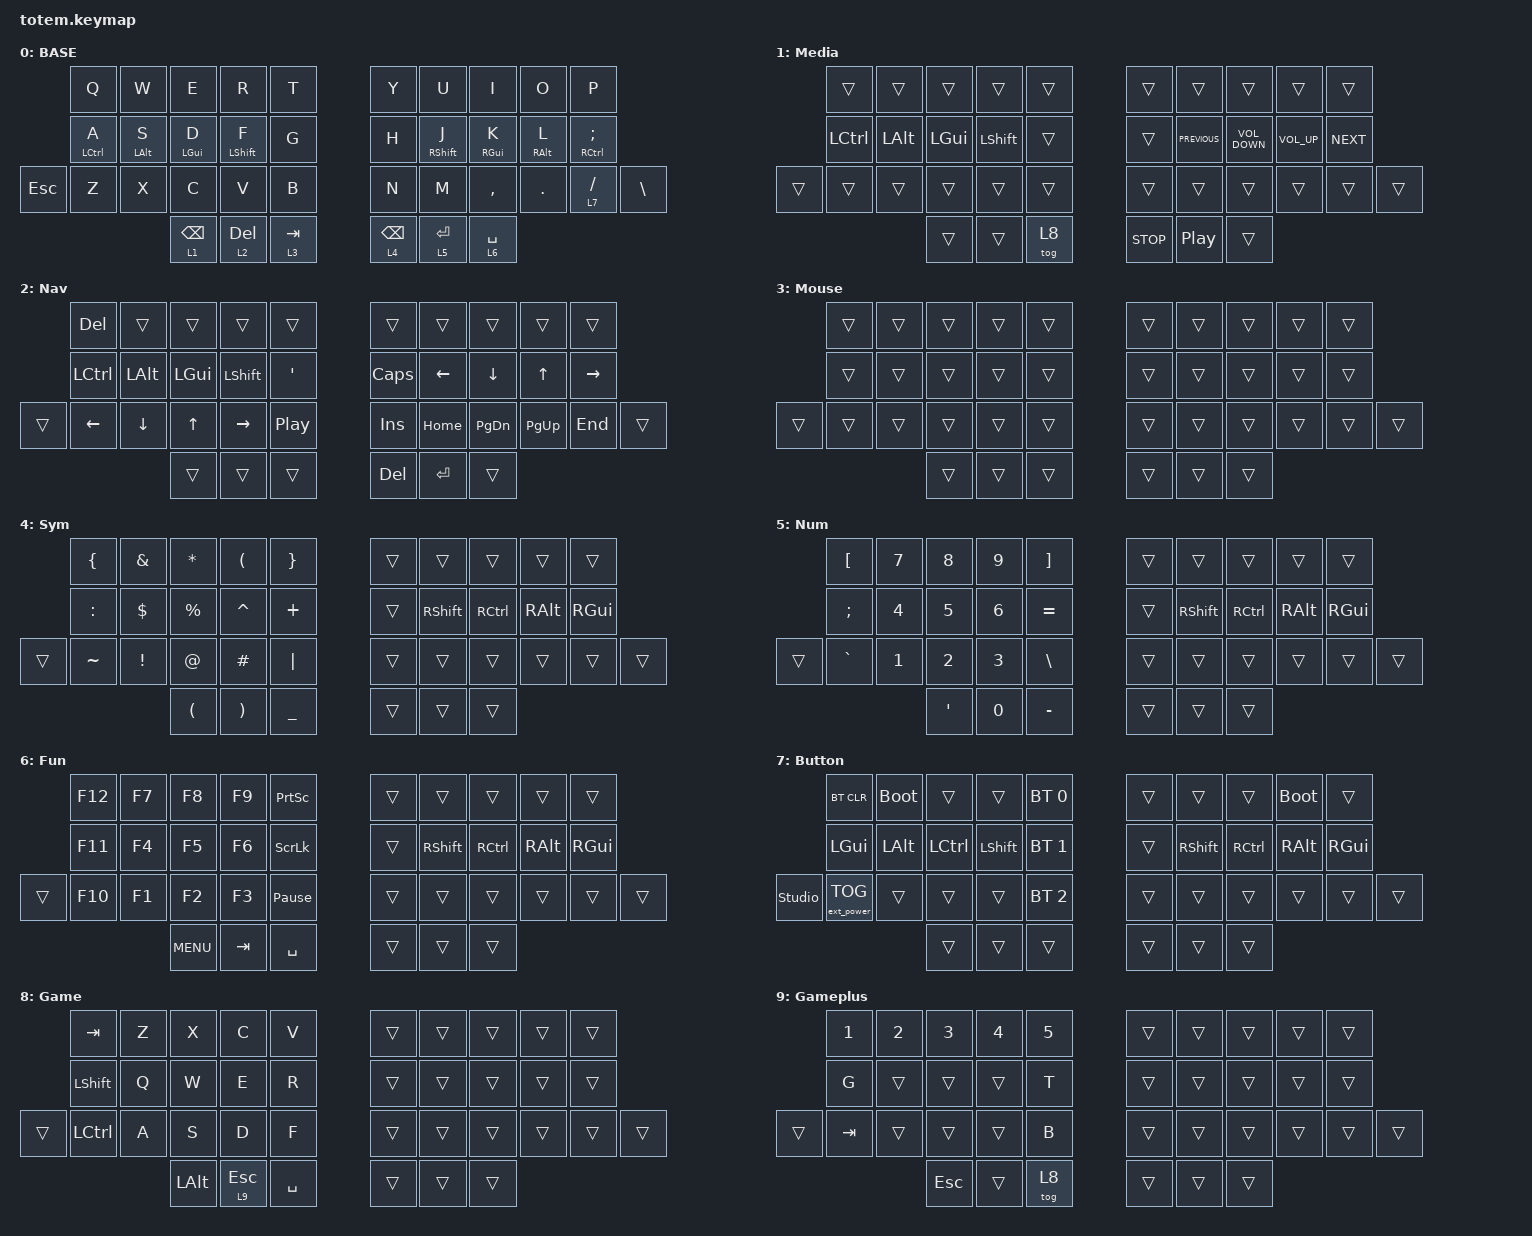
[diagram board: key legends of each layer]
//
//                                                        ▀▀▀▀▀     ▀▀▀▀▀          ▀▀█▀▀
//                                                        ▄▀▀▀▄  ▄  ▄▀▀▀▄  ▄  ▄▀▀▀▄  █  ▄▀▀▀▄
//                                                        █   █  █  █   █  █  █   █  █  █   █
//                                                         ▀▀▀   █   ▀▀▀   █   ▀▀▀   ▀   ▀▀▀
//                                                               █      ▄▄▄█▄▄▄    █   █  
//                                                               ▀      █  █  █     █▄█
//                                                             ▀▀▀▀▀    █  █  █      ▀
//                                                                      ▀  ▀  ▀
//
// ▄▄▄▄▄▄▄▄▄▄▄▄▄▄▄▄▄▄▄▄▄▄▄▄▄▄▄▄▄▄▄▄▄▄▄▄▄▄▄▄▄▄▄▄▄▄▄▄▄▄▄▄▄▄▄▄▄▄▄▄▄▄▄▄▄▄▄▄▄▄▄▄▄▄▄▄▄▄▄▄▄▄▄▄▄▄▄▄▄▄▄▄▄▄▄▄▄▄▄▄▄▄▄▄▄▄▄▄▄▄▄▄▄▄▄▄▄▄▄▄▄▄▄▄▄▄▄▄▄▄▄▄▄▄▄▄▄▄▄▄▄▄▄▄▄▄▄▄▄

#include <behaviors.dtsi>
#include <dt-bindings/zmk/keys.h>
#include <dt-bindings/zmk/bt.h>
#include <dt-bindings/zmk/outputs.h>
#include <dt-bindings/zmk/ext_power.h>

#define Base        0
#define Media       1
#define Nav         2
#define Mouse       3
#define Sym         4
#define Num         5
#define Fun         6
#define Button      7
#define Game        8
#define Gameplus    9

&mt {
    quick-tap-ms = <100>;
    global-quick-tap;
    flavor = "tap-preferred";
    tapping-term-ms = <170>;
};

&lt {
    tapping-term-ms = <240>;
    flavor = "balanced";
    quick-tap-ms = <150>;
};

/ {

    behaviors {
        hm: homerow_mods {
            compatible = "zmk,behavior-hold-tap";
            label = "HOMEROW_MODS";
            #binding-cells = <2>;
            flavor = "balanced";
            tapping-term-ms = <240>;
            quick-tap-ms = <150>;
            global-quick-tap;
            bindings =
                <&kp>,
                <&kp>;
        };
    };

    keymap {
        compatible = "zmk,keymap";

    Base {
            // ┏━━━━━━━━━━━━━━━━━━━━━━━━━━━━━━━━━━━━━━━┓

            label = "BASE";

            // ┗━━━━━━━━━━━━━━━━━━━━━━━━━━━━━━━━━━━━━━━┛
            //             ┏━━━━━━━━━━━┳━━━━━━━━━━━┳━━━━━━━━━━━┳━━━━━━━━━━━┳━━━━━━━━━━━┓   ┏━━━━━━━━━━━┳━━━━━━━━━━━┳━━━━━━━━━━━┳━━━━━━━━━━━┳━━━━━━━━━━━┓
            //             ┃     Q     ┃     W     ┃     E     ┃     R     ┃     T     ┃   ┃     Y     ┃     U     ┃     I     ┃     O     ┃     P     ┃
            //             ┣━━━━━━━━━━━╋━━━━━━━━━━━╋━━━━━━━━━━━╋━━━━━━━━━━━╋━━━━━━━━━━━┫   ┣━━━━━━━━━━━╋━━━━━━━━━━━╋━━━━━━━━━━━╋━━━━━━━━━━━╋━━━━━━━━━━━┫
            //             ┃     A     ┃     S     ┃     D     ┃     F     ┃     G     ┃   ┃     H     ┃     J     ┃     K     ┃     L     ┃     ;     ┃
            // ┏━━━━━━━━━━━╋━━━━━━━━━━━╋━━━━━━━━━━━╋━━━━━━━━━━━╋━━━━━━━━━━━╋━━━━━━━━━━━┫   ┣━━━━━━━━━━━╋━━━━━━━━━━━╋━━━━━━━━━━━╋━━━━━━━━━━━╋━━━━━━━━━━━╋━━━━━━━━━━━┓
            // ┃    ESC    ┃     Z     ┃     X     ┃     C     ┃     V     ┃     B     ┃   ┃     N     ┃     M     ┃     ,     ┃     .     ┃     /     ┃     \     ┃
            // ┗━━━━━━━━━━━┻━━━━━━━━━━━┻━━━━━━━━━━━╋━━━━━━━━━━━╋━━━━━━━━━━━╋━━━━━━━━━━━┫   ┣━━━━━━━━━━━╋━━━━━━━━━━━╋━━━━━━━━━━━╋━━━━━━━━━━━┻━━━━━━━━━━━┻━━━━━━━━━━━┛
            //                                     ┃    BSPC   ┃    DEL    ┃    TAB    ┃   ┃   BSPC    ┃   ENTER   ┃   SPACE   ┃
            //                                     ┗━━━━━━━━━━━┻━━━━━━━━━━━┻━━━━━━━━━━━┛   ┗━━━━━━━━━━━┻━━━━━━━━━━━┻━━━━━━━━━━━┛

        bindings = <
                &kp Q       &kp W       &kp E           &kp R         &kp T                         &kp Y        &kp U         &kp I       &kp O                &kp P               
                &hm LCTRL A &hm LALT S  &hm LGUI D      &hm LSHIFT F  &kp G                         &kp H  &hm RSHFT J    &hm RGUI K  &hm RALT L  &hm RCTRL SEMICOLON  
  &kp ESCAPE    &kp Z       &kp X       &kp C           &kp V         &kp B                         &kp N        &kp M     &kp COMMA     &kp DOT          &lt 7 SLASH  &kp BACKSLASH
                                        &lt 1 BACKSPACE &lt 2 DELETE  &lt 3 TAB           &lt 4 BACKSPACE  &lt 5 ENTER   &lt 6 SPACE
        >;
    };

    Media {
        label = "Media";
        bindings = <
                &trans    &trans    &trans     &trans      &trans               &trans            &trans             &trans           &trans      &trans  
                &kp LCTRL &kp LALT  &kp LGUI   &kp LSHIFT  &trans               &trans    &kp C_PREVIOUS  &kp C_VOLUME_DOWN  &kp C_VOLUME_UP  &kp C_NEXT  
        &trans  &trans    &trans    &trans     &trans      &trans               &trans            &trans             &trans           &trans      &trans  &trans
                                    &trans     &trans      &tog 8           &kp C_STOP  &kp C_PLAY_PAUSE             &trans  
        >;
    };

    Nav {
        label = "Nav";
        bindings = <
                &kp DELETE    &trans    &trans        &trans      &trans                       &trans     &trans         &trans       &trans       &trans  
                &kp LCTRL     &kp LALT  &kp LEFT_GUI  &kp LSHIFT  &kp SQT                    &kp CAPS   &kp LEFT       &kp DOWN       &kp UP    &kp RIGHT  
        &trans  &kp LEFT      &kp DOWN  &kp UP        &kp RIGHT   &kp C_PLAY_PAUSE         &kp INSERT   &kp HOME  &kp PAGE_DOWN  &kp PAGE_UP      &kp END  &trans
                                           &trans     &trans      &trans                   &kp DELETE  &kp ENTER         &trans
        >;
    };

    Mouse {
        label = "Mouse";
        bindings = <
                &trans  &trans  &trans  &trans  &trans          &trans  &trans  &trans  &trans  &trans  
                &trans  &trans  &trans  &trans  &trans          &trans  &trans  &trans  &trans  &trans  
        &trans  &trans  &trans  &trans  &trans  &trans          &trans  &trans  &trans  &trans  &trans  &trans
                                &trans  &trans  &trans          &trans  &trans  &trans
        >;
    };

    Sym {
        label = "Sym";
        bindings = <
                &kp LEFT_BRACE  &kp AMPERSAND  &kp ASTERISK         &kp LEFT_PARENTHESIS   &kp RIGHT_BRACE       &trans      &trans     &trans    &trans    &trans  
                &kp COLON       &kp DOLLAR     &kp PERCENT          &kp CARET              &kp PLUS              &trans  &kp RSHIFT  &kp RCTRL  &kp RALT  &kp RGUI  
        &trans  &kp TILDE       &kp EXCL       &kp AT               &kp HASH               &kp PIPE              &trans      &trans     &trans    &trans    &trans  &trans
                                              &kp LEFT_PARENTHESIS  &kp RIGHT_PARENTHESIS  &kp UNDERSCORE        &trans      &trans     &trans   
        >;
    };

    Num {
        label = "Num";
        bindings = <
                &kp LEFT_BRACKET  &kp NUMBER_7  &kp NUMBER_8  &kp NUMBER_9  &kp RIGHT_BRACKET       &trans      &trans     &trans    &trans    &trans  
                &kp SEMICOLON     &kp NUMBER_4  &kp NUMBER_5  &kp NUMBER_6  &kp EQUAL               &trans  &kp RSHIFT  &kp RCTRL  &kp RALT  &kp RGUI  
        &trans  &kp GRAVE         &kp NUMBER_1  &kp NUMBER_2  &kp NUMBER_3  &kp BACKSLASH           &trans      &trans     &trans    &trans    &trans  &trans
                                                &kp SQT       &kp NUMBER_0  &kp MINUS               &trans      &trans     &trans
        >;
    };

    Fun {
        label = "Fun";
        bindings = <
                &kp F12     &kp F7   &kp F8      &kp F9   &kp PRINTSCREEN          &trans      &trans     &trans    &trans    &trans  
                &kp F11     &kp F4   &kp F5      &kp F6   &kp SCROLLLOCK           &trans  &kp RSHIFT  &kp RCTRL  &kp RALT  &kp RGUI  
        &trans  &kp F10     &kp F1   &kp F2      &kp F3   &kp PAUSE_BREAK          &trans      &trans     &trans    &trans    &trans  &trans
                                     &kp C_MENU  &kp TAB  &kp SPACE                &trans      &trans     &trans
        >;
    };

    Button {
        label = "Button";
        bindings = <
                &bt BT_CLR         &bootloader  &trans     &trans      &bt BT_SEL 0         &trans      &trans     &trans  &bootloader    &trans  
                &kp LGUI           &kp LALT     &kp LCTRL  &kp LSHIFT  &bt BT_SEL 1         &trans  &kp RSHIFT  &kp RCTRL     &kp RALT  &kp RGUI  
&studio_unlock  &ext_power EP_TOG  &trans       &trans     &trans      &bt BT_SEL 2         &trans      &trans     &trans       &trans    &trans  &trans
                                                &trans     &trans      &trans               &trans      &trans     &trans
        >;
    };

    Game {
        label = "Game";
        bindings = <
                &kp TAB         &kp Z  &kp X       &kp C         &kp V            &trans  &trans  &trans  &trans  &trans  
                &kp LEFT_SHIFT  &kp Q  &kp W       &kp E         &kp R            &trans  &trans  &trans  &trans  &trans  
        &trans  &kp LCTRL       &kp A  &kp S       &kp D         &kp F            &trans  &trans  &trans  &trans  &trans  &trans
                                       &kp LALT    &lt 9 ESCAPE  &kp SPACE        &trans  &trans  &trans
        >;
    };

    Gameplus {
        label = "Gameplus";
        bindings = <
                &kp NUMBER_1  &kp NUMBER_2  &kp NUMBER_3  &kp NUMBER_4  &kp NUMBER_5        &trans  &trans  &trans  &trans  &trans  
                &kp G         &trans        &trans        &trans        &kp T               &trans  &trans  &trans  &trans  &trans  
        &trans  &kp TAB       &trans        &trans        &trans        &kp B               &trans  &trans  &trans  &trans  &trans  &trans
                                            &kp ESCAPE    &trans        &tog 8              &trans  &trans  &trans
        >;
    };
  };
};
